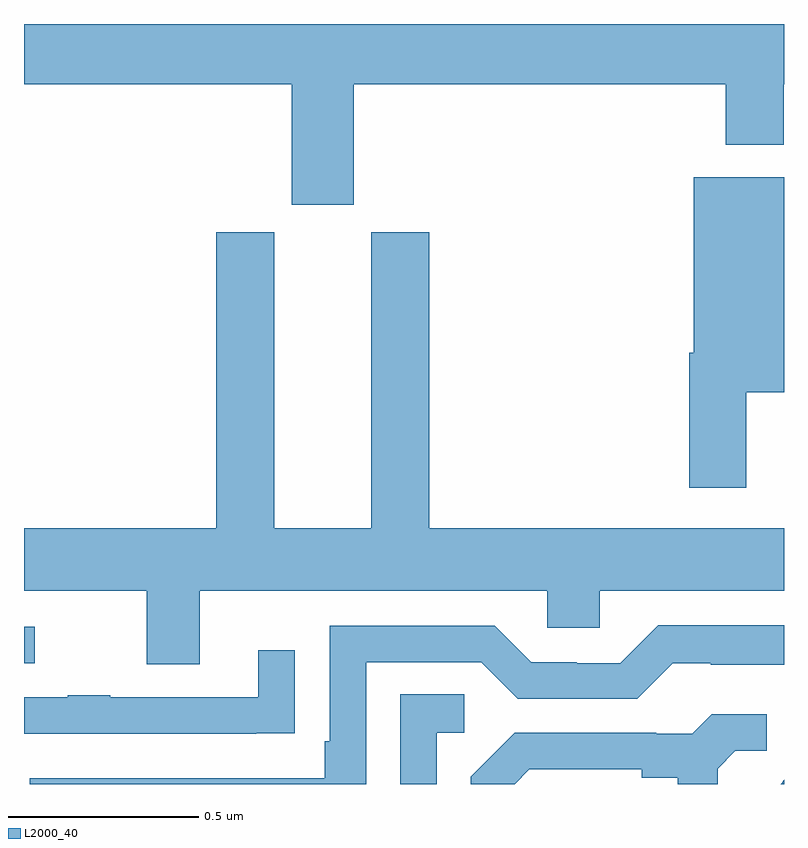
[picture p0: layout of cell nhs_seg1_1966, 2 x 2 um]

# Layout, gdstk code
import gdstk
lib = gdstk.Library(unit=1e-6, precision=1e-09)
def R(c, l, rs):  # rectangles x0, y0, x1, y1
    for r in rs: c.add(gdstk.rectangle(r[:2], r[2:], *l))
def P(c, l, *ps):  # polygons
    for p in ps: c.add(gdstk.Polygon(p, *l))
L2000_40 = (2000, 40)

nhs_seg1_1966 = lib.new_cell('nhs_seg1_1966')
R(nhs_seg1_1966, L2000_40, [(135,575.517,135.028,575.613)])
P(nhs_seg1_1966, L2000_40, [(135.868,577.04),(136.847,577.04),(136.847,576.881),(136.999,576.881),(136.999,577.04),(137,577.04),(137,577.199),(135,577.199),(135,577.04),(135.704,577.04),(135.704,576.723),(135.868,576.723)],
  [(136.9,576.23),(137,576.23),(137,576.796),(136.763,576.796),(136.763,576.334),(136.751,576.334),(136.751,575.979),(136.9,575.979)],
  [(135.463,575.708),(136.377,575.708),(136.377,575.61),(136.515,575.61),(136.515,575.708),(137,575.708),(137,575.872),(136.067,575.872),(136.067,576.651),(135.914,576.651),(135.914,575.872),(135.658,575.872),(135.658,576.651),(135.506,576.651),(135.506,575.872),(135,575.872),(135,575.708),(135.323,575.708),(135.323,575.514),(135.463,575.514)],
  [(135.9,575.52),(136.203,575.52),(136.299,575.424),(136.614,575.424),(136.707,575.517),(136.807,575.517),(136.807,575.513),(137,575.513),(137,575.617),(136.669,575.617),(136.569,575.517),(136.454,575.517),(136.454,575.52),(136.335,575.52),(136.239,575.616),(135.804,575.616),(135.804,575.311),(135.791,575.311),(135.791,575.214),(135.015,575.214),(135.015,575.199),(135.9,575.199)],
  [(135.611,575.332),(135.713,575.332),(135.713,575.551),(135.617,575.551),(135.617,575.427),(135.227,575.427),(135.227,575.432),(135.115,575.432),(135.115,575.427),(135,575.427),(135,575.331),(135.611,575.331)],
  [(136.086,575.334),(136.159,575.334),(136.159,575.435),(135.99,575.435),(135.99,575.199),(136.086,575.199)],
  [(136.33,575.238),(136.625,575.238),(136.625,575.216),(136.721,575.216),(136.721,575.199),(136.825,575.199),(136.825,575.239),(136.872,575.286),(136.954,575.286),(136.954,575.383),(136.81,575.383),(136.758,575.331),(136.664,575.331),(136.664,575.334),(136.292,575.334),(136.176,575.218),(136.176,575.199),(136.291,575.199)],
  [(137,575.21),(136.998,575.208),(136.999,575.207),(136.991,575.199),(137,575.199)])

lib.write_gds('nhs_seg1_1966.gds')
